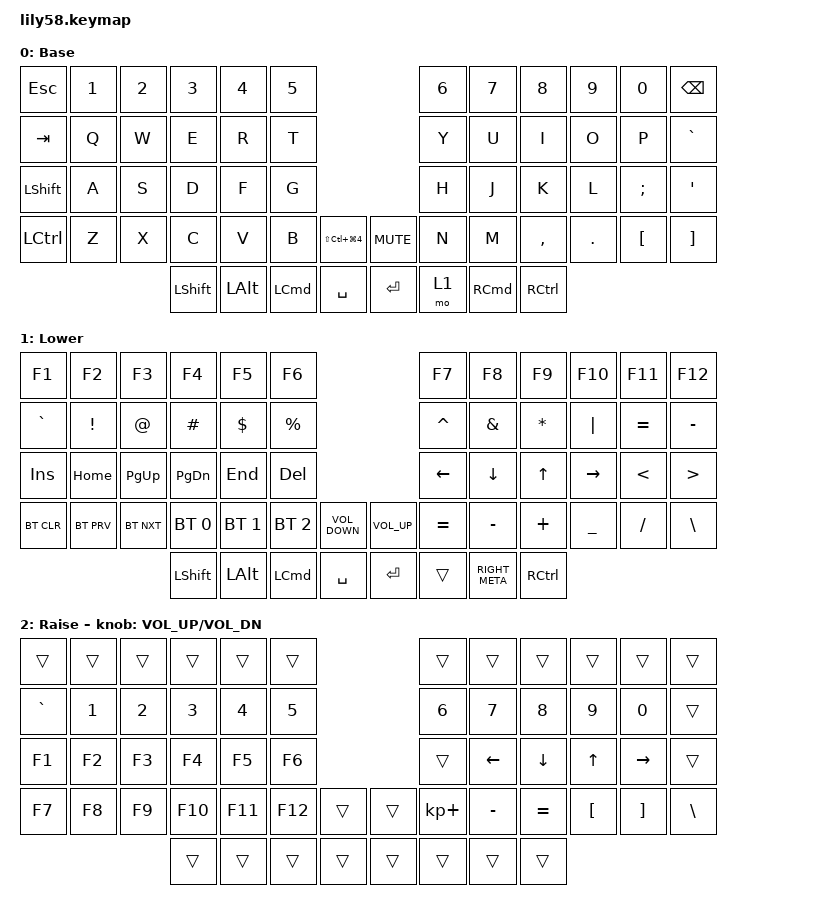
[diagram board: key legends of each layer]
/*
 * Copyright (c) 2020 The ZMK Contributors
 *
 * SPDX-License-Identifier: MIT
 */

#include <behaviors.dtsi>
#include <dt-bindings/zmk/bt.h>
#include <dt-bindings/zmk/keys.h>

/ {
    keymap {
        compatible = "zmk,keymap";

        default_layer {
            // ------------------------------------------------------------------------------------------------------------
            // |  ESC  |  1  |  2  |  3   |  4   |  5   |                   |  6   |  7    |  8    |  9   |   0   |   `   |
            // |  TAB  |  Q  |  W  |  E   |  R   |  T   |                   |  Y   |  U    |  I    |  O   |   P   |   -   |
            // |  CTRL |  A  |  S  |  D   |  F   |  G   |                   |  H   |  J    |  K    |  L   |   ;   |   '   |
            // | SHIFT |  Z  |  X  |  C   |  V   |  B   |   "["  |  |  "]"  |  N   |  M    |  ,    |  .   |   /   | SHIFT |
            //                     | ALT  | GUI  | LOWER|  SPACE |  | ENTER | RAISE| BSPC  | GUI   |

            display-name = "Base";
            bindings = <
&kp ESC           &kp N1  &kp N2  &kp N3          &kp N4        &kp N5                                                    &kp N6  &kp N7             &kp N8             &kp N9   &kp N0            &kp BACKSPACE
&kp TAB           &kp Q   &kp W   &kp E           &kp R         &kp T                                                     &kp Y   &kp U              &kp I              &kp O    &kp P             &kp GRAVE
&kp LEFT_SHIFT    &kp A   &kp S   &kp D           &kp F         &kp G                                                     &kp H   &kp J              &kp K              &kp L    &kp SEMI          &kp SQT
&kp LEFT_CONTROL  &kp Z   &kp X   &kp C           &kp V         &kp B             &kp LS(LC(LG(NUMBER_4)))    &kp K_MUTE  &kp N   &kp M              &kp COMMA          &kp DOT  &kp LEFT_BRACKET  &kp RIGHT_BRACKET
                                  &kp LEFT_SHIFT  &kp LEFT_ALT  &kp LEFT_COMMAND  &kp SPACE                   &kp RET     &mo 1   &kp RIGHT_COMMAND  &kp RIGHT_CONTROL
            >;
        };

        lower_layer {
            // ------------------------------------------------------------------------------------------------------------
            // | BTCLR | BT1 | BT2 |  BT3 |  BT4 |  BT5 |                   |      |       |       |      |       |       |
            // |  F1   |  F2 |  F3 |  F4  |  F5  |  F6  |                   |  F7  |  F8   |  F9   |  F10 |  F11  |  F12  |
            // |   `   |  !  |  @  |  #   |  $   |  %   |                   |  ^   |  &    |  *    |  (   |   )   |   ~   |
            // |       |     |     |      |      |      |        |  |       |      |  _    |  +    |  {   |   }   |  "|"  |
            //                     |      |      |      |        |  |       |      |       |       |

            display-name = "Lower";
            bindings = <
&kp F1      &kp F2      &kp F3       &kp F4          &kp F5        &kp F6                                                  &kp F7     &kp F8          &kp F9             &kp F10    &kp F11        &kp F12
&kp GRAVE   &kp EXCL    &kp AT_SIGN  &kp HASH        &kp DOLLAR    &kp PERCENT                                             &kp CARET  &kp AMPERSAND   &kp ASTERISK       &kp PIPE   &kp EQUAL      &kp MINUS
&kp INSERT  &kp HOME    &kp PG_UP    &kp PAGE_DOWN   &kp END       &kp DEL                                                 &kp LEFT   &kp DOWN        &kp UP_ARROW       &kp RIGHT  &kp LESS_THAN  &kp GREATER_THAN
&bt BT_CLR  &bt BT_PRV  &bt BT_NXT   &bt BT_SEL 0    &bt BT_SEL 1  &bt BT_SEL 2      &kp C_VOLUME_DOWN    &kp C_VOLUME_UP  &kp EQUAL  &kp MINUS       &kp PLUS           &kp UNDER  &kp SLASH      &kp BACKSLASH
                                     &kp LEFT_SHIFT  &kp LEFT_ALT  &kp LEFT_COMMAND  &kp SPACE            &kp ENTER        &trans     &kp RIGHT_META  &kp RIGHT_CONTROL
            >;
        };

        raise_layer {
            // ------------------------------------------------------------------------------------------------------------
            // |       |     |     |      |      |      |                   |      |       |       |      |       |       |
            // |   `   |  1  |  2  |  3   |  4   |  5   |                   |  6   |   7   |   8   |  9   |   0   |       |
            // |   F1  |  F2 |  F3 |  F4  |  F5  |  F6  |                   |      |   <-  |   v   |  ^   |  ->   |       |
            // |   F7  |  F8 |  F9 |  F10 |  F11 |  F12 |        |  |       |  +   |   -   |   =   |  [   |   ]   |   \   |
            //                     |      |      |      |        |  |       |      |       |       |

            display-name = "Raise";
            bindings = <
&trans     &trans  &trans  &trans   &trans   &trans                     &trans       &trans     &trans     &trans    &trans     &trans
&kp GRAVE  &kp N1  &kp N2  &kp N3   &kp N4   &kp N5                     &kp N6       &kp N7     &kp N8     &kp N9    &kp N0     &trans
&kp F1     &kp F2  &kp F3  &kp F4   &kp F5   &kp F6                     &trans       &kp LEFT   &kp DOWN   &kp UP    &kp RIGHT  &trans
&kp F7     &kp F8  &kp F9  &kp F10  &kp F11  &kp F12  &trans    &trans  &kp KP_PLUS  &kp MINUS  &kp EQUAL  &kp LBKT  &kp RBKT   &kp BSLH
                           &trans   &trans   &trans   &trans    &trans  &trans       &trans     &trans
            >;

            sensor-bindings = <&inc_dec_kp C_VOL_UP C_VOL_DN>;
        };
    };
};
